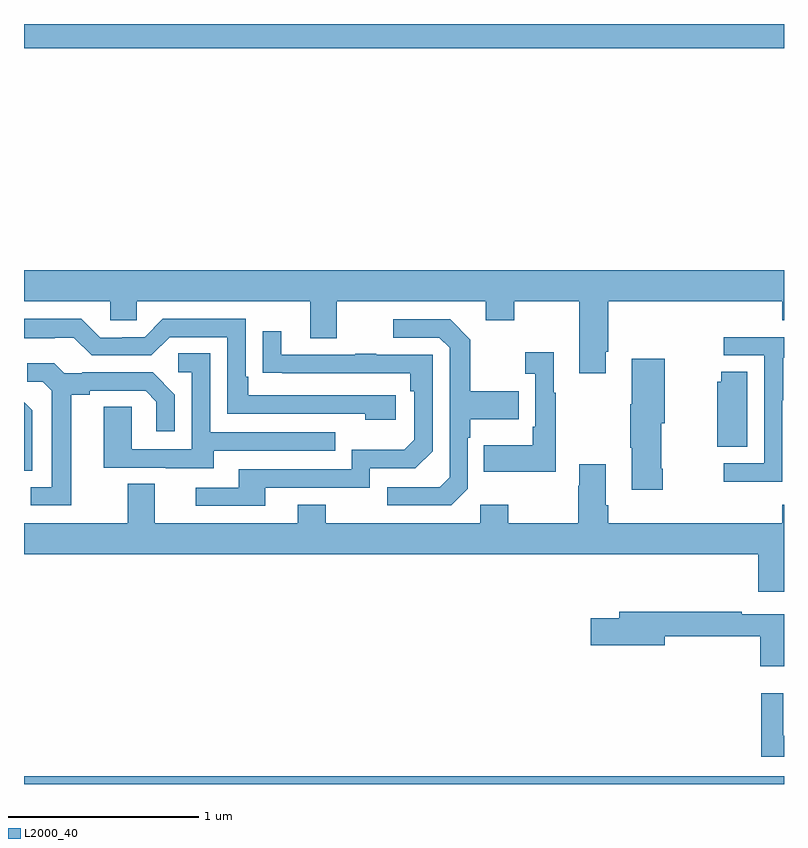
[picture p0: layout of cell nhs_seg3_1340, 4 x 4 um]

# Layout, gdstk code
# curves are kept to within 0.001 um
import gdstk
lib = gdstk.Library(unit=1e-6, precision=1e-09)
def R(c, l, rs):  # rectangles x0, y0, x1, y1
    for r in rs: c.add(gdstk.rectangle(r[:2], r[2:], *l))
def P(c, l, *ps):  # polygons
    for p in ps: c.add(gdstk.Polygon(p, *l))
L2000_40 = (2000, 40)

nhs_seg3_1340 = lib.new_cell('nhs_seg3_1340')
R(nhs_seg3_1340, L2000_40, [(181,674.4,185,674.44), (181,678.272,185,678.4)])
P(nhs_seg3_1340, L2000_40, [(184.063,676.675),(184.076,676.675),(184.076,676.94),(184.991,676.94),(184.991,676.841),(185,676.841),(185,677.104),(181,677.104),(181,676.94),(181.455,676.94),(181.455,676.842),(181.593,676.842),(181.593,676.94),(182.507,676.94),(182.507,676.746),(182.647,676.746),(182.647,676.94),(183.431,676.94),(183.431,676.841),(183.579,676.841),(183.579,676.94),(183.923,676.94),(183.923,676.563),(184.063,676.563)],
  [(182.956,676.446),(182.179,676.446),(182.179,676.543),(182.166,676.543),(182.166,676.848),(181.731,676.848),(181.635,676.752),(181.517,676.752),(181.517,676.749),(181.401,676.749),(181.301,676.849),(181,676.849),(181,676.745),(181.163,676.745),(181.163,676.749),(181.263,676.749),(181.356,676.656),(181.671,676.656),(181.767,676.752),(182.07,676.752),(182.07,676.35),(182.795,676.35),(182.795,676.316),(182.956,676.316)],
  [(183.336,675.954),(183.336,676.223),(183.349,676.223),(183.349,676.319),(183.605,676.319),(183.605,676.467),(183.349,676.467),(183.349,676.739),(183.243,676.845),(182.943,676.845),(182.943,676.749),(183.186,676.749),(183.24,676.695),(183.24,676.014),(183.189,675.963),(182.913,675.963),(182.913,675.867),(183.249,675.867)],
  [(182.269,675.96),(182.82,675.96),(182.82,676.062),(183.06,676.062),(183.15,676.152),(183.15,676.659),(182.855,676.659),(182.855,676.664),(182.743,676.664),(182.743,676.659),(182.353,676.659),(182.353,676.783),(182.257,676.783),(182.257,676.564),(183.034,676.563),(183.034,676.466),(183.054,676.466),(183.054,676.212),(183.001,676.159),(182.724,676.159),(182.724,676.056),(182.129,676.056),(182.129,675.96),(181.905,675.96),(181.905,675.864),(182.269,675.864)],
  [(184.992,676.42),(184.995,676.42),(184.995,676.644),(185,676.644),(185,676.752),(184.683,676.752),(184.683,676.656),(184.896,676.656),(184.896,676.089),(184.683,676.089),(184.683,675.991),(184.992,675.991)],
  [(183.799,676.459),(183.787,676.459),(183.787,676.672),(183.639,676.672),(183.639,676.559),(183.69,676.559),(183.69,676.279),(183.678,676.279),(183.678,676.183),(183.421,676.183),(183.421,676.043),(183.799,676.043)],
  [(181.999,676.155),(182.639,676.155),(182.639,676.251),(181.98,676.251),(181.98,676.667),(181.812,676.667),(181.812,676.566),(181.884,676.566),(181.884,676.161),(181.566,676.161),(181.566,676.385),(181.421,676.385),(181.421,676.065),(181.745,676.065),(181.745,676.061),(181.999,676.061)],
  [(184.362,676.06),(184.354,676.06),(184.354,676.299),(184.372,676.299),(184.372,676.639),(184.199,676.639),(184.199,676.399),(184.192,676.399),(184.192,676.171),(184.199,676.171),(184.199,675.948),(184.362,675.948)],
  [(181.249,676.448),(181.345,676.448),(181.345,676.47),(181.64,676.47),(181.697,676.413),(181.697,676.257),(181.794,676.257),(181.794,676.45),(181.678,676.566),(181.306,676.566),(181.306,676.563),(181.212,676.563),(181.16,676.615),(181.017,676.615),(181.017,676.518),(181.098,676.518),(181.145,676.471),(181.145,675.963),(181.035,675.963),(181.035,675.867),(181.249,675.867)],
  [(184.807,676.571),(184.669,676.571),(184.669,676.518),(184.649,676.518),(184.649,676.174),(184.807,676.174)],
  [(181.044,676.366),(181,676.41),(181,676.048),(181.044,676.048)],
  [(185,675.871),(184.991,675.871),(184.991,675.772),(184.076,675.772),(184.076,675.868),(184.063,675.868),(184.063,676.084),(183.923,676.084),(183.923,675.971),(183.916,675.971),(183.916,675.772),(183.549,675.772),(183.549,675.871),(183.402,675.871),(183.402,675.772),(182.589,675.772),(182.589,675.871),(182.441,675.871),(182.441,675.772),(181.687,675.772),(181.687,675.98),(181.547,675.98),(181.547,675.772),(181,675.772),(181,675.608),(184.865,675.608),(184.865,675.411),(185,675.411)],
  [(185,675.294),(184.778,675.294),(184.778,675.307),(184.133,675.307),(184.133,675.273),(183.984,675.273),(183.984,675.131),(184.372,675.131),(184.372,675.178),(184.874,675.178),(184.874,675.02),(185,675.02)],
  [(185,674.653),(184.996,674.653),(184.996,674.878),(184.879,674.878),(184.879,674.544),(185,674.544)])

lib.write_gds('nhs_seg3_1340.gds')
